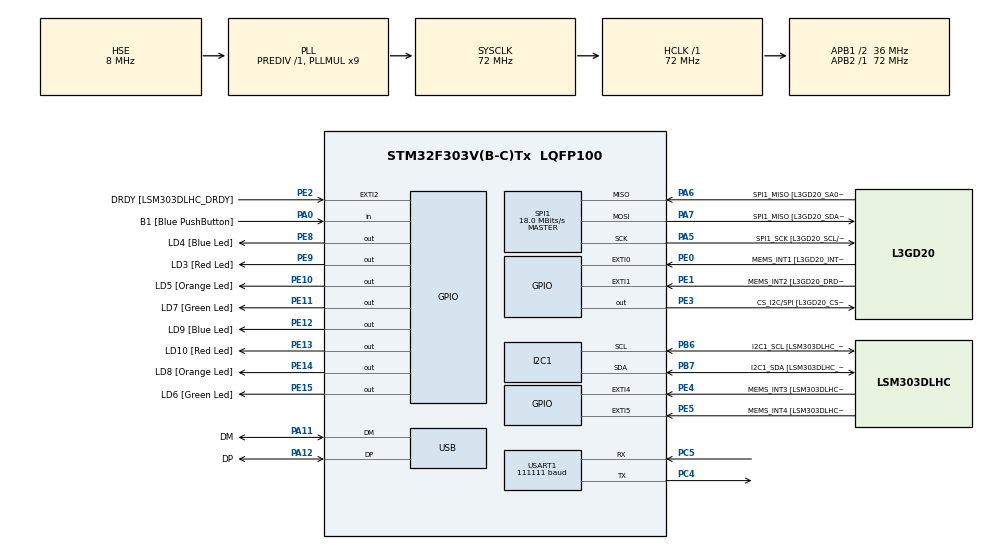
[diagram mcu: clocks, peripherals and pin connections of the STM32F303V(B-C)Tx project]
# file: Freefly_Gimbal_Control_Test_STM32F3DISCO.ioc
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I2C1.Timing-I2C=0x2000090E
Mcu.Family=STM32F3
Mcu.Name=STM32F303V(B-C)Tx
Mcu.Package=LQFP100
NVIC.PriorityGroup=NVIC_PRIORITYGROUP_0
NVIC.USART1_IRQn=true\:0\:0\:false\:false\:true\:true\:true
PA0.GPIO_Label=B1 [Blue PushButton]
PA0.Signal=GPIO_Input
PA11.GPIO_Label=DM
PA11.Mode=Device
PA11.Signal=USB_DM
PA12.GPIO_Label=DP
PA12.Mode=Device
PA12.Signal=USB_DP
PA13.GPIO_Label=SWDIO
PA13.Mode=Serial_Wire
PA13.Signal=SYS_JTMS-SWDIO
PA14.GPIO_Label=SWCLK
PA14.Mode=Serial_Wire
PA14.Signal=SYS_JTCK-SWCLK
PA5.GPIO_Label=SPI1_SCK [L3GD20_SCL/SPC]
PA5.Mode=Full_Duplex_Master
PA5.Signal=SPI1_SCK
PA6.GPIO_Label=SPI1_MISO [L3GD20_SA0/SDO]
PA6.Mode=Full_Duplex_Master
PA6.Signal=SPI1_MISO
PA7.GPIO_Label=SPI1_MISO [L3GD20_SDA/SDI/SDO]
PA7.Mode=Full_Duplex_Master
PA7.Signal=SPI1_MOSI
PB3.GPIO_Label=SWO
PB3.Signal=SYS_JTDO-TRACESWO
PB6.GPIO_Label=I2C1_SCL [LSM303DLHC_SCL]
PB6.Mode=I2C
PB6.Signal=I2C1_SCL
PB7.GPIO_Label=I2C1_SDA [LSM303DLHC_SDA]
PB7.Mode=I2C
PB7.Signal=I2C1_SDA
PC14-OSC32_IN.GPIO_Label=OSC32_IN
PC14-OSC32_IN.Signal=RCC_OSC32_IN
PC15-OSC32_OUT.GPIO_Label=OSC32_OUT
PC15-OSC32_OUT.Signal=RCC_OSC32_OUT
PC4.Mode=Asynchronous
PC4.Signal=USART1_TX
PC5.Mode=Asynchronous
PC5.Signal=USART1_RX
PE0.GPIO_Label=MEMS_INT1 [L3GD20_INT1]
PE0.GPIO_ModeDefaultEXTI=GPIO_MODE_EVT_RISING
PE0.Signal=GPXTI0
PE1.GPIO_Label=MEMS_INT2 [L3GD20_DRDY/INT2]
PE1.GPIO_ModeDefaultEXTI=GPIO_MODE_EVT_RISING
PE1.Signal=GPXTI1
PE10.GPIO_Label=LD5 [Orange Led]
PE10.Signal=GPIO_Output
PE11.GPIO_Label=LD7 [Green Led]
PE11.Signal=GPIO_Output
PE12.GPIO_Label=LD9 [Blue Led]
PE12.Signal=GPIO_Output
PE13.GPIO_Label=LD10 [Red Led]
PE13.Signal=GPIO_Output
PE14.GPIO_Label=LD8 [Orange Led]
PE14.Signal=GPIO_Output
PE15.GPIO_Label=LD6 [Green Led]
PE15.Signal=GPIO_Output
PE2.GPIO_Label=DRDY [LSM303DLHC_DRDY]
PE2.GPIO_ModeDefaultEXTI=GPIO_MODE_EVT_RISING
PE2.Signal=GPXTI2
PE3.GPIO_Label=CS_I2C/SPI [L3GD20_CS_I2C/SPI]
PE3.Signal=GPIO_Output
PE4.GPIO_Label=MEMS_INT3 [LSM303DLHC_INT1]
PE4.GPIO_ModeDefaultEXTI=GPIO_MODE_EVT_RISING
PE4.Signal=GPXTI4
PE5.GPIO_Label=MEMS_INT4 [LSM303DLHC_INT2]
PE5.GPIO_ModeDefaultEXTI=GPIO_MODE_EVT_RISING
PE5.Signal=GPXTI5
PE8.GPIO_Label=LD4 [Blue Led]
PE8.Signal=GPIO_Output
PE9.GPIO_Label=LD3 [Red Led]
PE9.Signal=GPIO_Output
PF0-OSC_IN.GPIO_Label=OSC_IN
PF0-OSC_IN.Mode=HSE-External-Clock-Source
PF0-OSC_IN.Signal=RCC_OSC_IN
PF1-OSC_OUT.GPIO_Label=OSC_OUT
PF1-OSC_OUT.Signal=RCC_OSC_OUT
ProjectManager.HeapSize=0x200
ProjectManager.StackSize=0x400
ProjectManager.TargetToolchain=MDK-ARM V5
RCC.AHBFreq_Value=72000000
RCC.APB1CLKDivider=RCC_HCLK_DIV2
RCC.APB1Freq_Value=36000000
RCC.APB1TimFreq_Value=72000000
RCC.APB2Freq_Value=72000000
RCC.APB2TimFreq_Value=72000000
RCC.CortexFreq_Value=72000000
RCC.HCLKFreq_Value=72000000
RCC.HSI_VALUE=8000000
RCC.LSE_VALUE=32768
RCC.PLLMUL=RCC_PLL_MUL9
RCC.PRESCALERUSB=RCC_USBCLKSOURCE_PLL_DIV1_5
RCC.SYSCLKFreq_VALUE=72000000
RCC.SYSCLKSourceVirtual=RCC_SYSCLKSOURCE_PLLCLK
RCC.USBFreq_Value=48000000
SPI1.BaudRatePrescaler=SPI_BAUDRATEPRESCALER_4
SPI1.BaudRatePrescaler-Full_Duplex_Master=SPI_BAUDRATEPRESCALER_2
SPI1.CalculateBaudRate=18.0 MBits/s
SPI1.CalculateBaudRate-Full_Duplex_Master=24.0 MBits/s
SPI1.Direction=SPI_DIRECTION_2LINES
SPI1.Mode=SPI_MODE_MASTER
SPI1.Mode-Full_Duplex_Master=SPI_MODE_MASTER
SPI1.VirtualType=VM_MASTER
USART1.BaudRate=111111
USART1.VirtualMode-Asynchronous=VM_ASYNC
board=STM32F3DISCOVERY

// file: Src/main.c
/* USER CODE BEGIN Header */
/**
  This is a test application designed by Freefly Systems.
	It was auto generated using the CubeMX software provided by ST for the STM32F3-Discovery development board.
	It is setup to read the Accelerometer and Gyro sensor values, and setup a UART for communication with non blocking buffers
  */
/* USER CODE END Header */

#include "main.h"
#include "math.h"
/* USER CODE BEGIN Includes */
#include "string.h"
#include "FIFO_Buf.h"
#include "stm32f3_discovery.h"
#include "stm32f3_discovery_accelerometer.h"
#include "stm32f3_discovery_gyroscope.h"

#include "QX_Protocol.h"
#include "QX_Protocol_App.h"

/* USER CODE END Includes */

/* USER CODE BEGIN PD */
void UART_Print(const char*);
/* USER CODE END PD */

I2C_HandleTypeDef hi2c1;

SPI_HandleTypeDef hspi1;

UART_HandleTypeDef huart1;

PCD_HandleTypeDef hpcd_USB_FS;

void SystemClock_Config(void);
static void MX_GPIO_Init(void);
static void MX_I2C1_Init(void);
static void MX_SPI1_Init(void);
static void MX_USB_PCD_Init(void);
static void MX_USART1_UART_Init(void);
/* USER CODE BEGIN PFP */

void Start_Buf_Send(void);

/* USER CODE END PFP */

/* USER CODE BEGIN 0 */

// Globals for reading IMU sensor values
float gyro_values[3];
int16_t accel_values[3];

// globals for communications
uint8_t uart_tx_chr;
uint8_t uart_rx_chr;
FIFO_Buf_t qx_comms_rx_fifo[1];
FIFO_Buf_t qx_comms_tx_fifo[1];
uint8_t qx_comms_rx_buf[1][1000];
uint8_t qx_comms_tx_buf[1][1000];

// globals for angle estimation
float tilt_angle_deg=0.0f;
float roll_angle_deg=0.0f;

// frequency of control loop
float control_freq = 50;

/* USER CODE END 0 */

int main(void)
{

  /* MCU Configuration--------------------------------------------------------*/

  /* Reset of all peripherals, Initializes the Flash interface and the Systick. */
  HAL_Init();

  /* Configure the system clock */
  SystemClock_Config();

  /* Initialize all configured peripherals */
  MX_GPIO_Init();
  MX_I2C1_Init();
  MX_SPI1_Init();
  MX_USB_PCD_Init();
  MX_USART1_UART_Init();
  /* USER CODE BEGIN 2 */

	// Init the Gyro
	BSP_GYRO_Init();
	BSP_GYRO_ReadID();

	// Init the Accel
	BSP_ACCELERO_Init();

	// Setup buffers for serial comms
	FIFO_Buf_Init(&qx_comms_rx_fifo[0], qx_comms_rx_buf[0], 1000);
	FIFO_Buf_Init(&qx_comms_tx_fifo[0], qx_comms_tx_buf[0], 1000);

	// Start receiving characters to a circular buffer
	// Once 1 char is received this RX function will be called again, and the cycle repeats
	HAL_UART_Receive_IT(&huart1, &uart_rx_chr, 1);

	FreeflyAPI.begin();

	// Set Tilt and Roll control type as absolute angles
	FreeflyAPI.control.tilt.type = ABSOLUTE;
	FreeflyAPI.control.roll.type = ABSOLUTE;
	FreeflyAPI.control.pan.type =DEFER;

  /* USER CODE END 2 */

  /* Infinite loop */
  /* USER CODE BEGIN WHILE */

  while (1)
  {

	HAL_GPIO_TogglePin(LD3_GPIO_Port, LD3_Pin);

	// Read the sensor values. Use the watch window to display them and make sure they are working
	BSP_GYRO_GetXYZ(gyro_values);
	BSP_ACCELERO_GetXYZ(accel_values);

	// Compute Tilt and Roll from accelrometer
	get_tilt_angle(accel_values, &tilt_angle_deg);
	get_roll_angle(accel_values, &roll_angle_deg);

	// Clamp the Tilt and Roll angles w.r.t the physical limitations of the device
	tilt_angle_deg = (tilt_angle_deg > 55.0) ? 55.0 : (tilt_angle_deg < -55.0) ? -55.0 : tilt_angle_deg;
	roll_angle_deg = (roll_angle_deg > 110.0) ? 110.0 : (roll_angle_deg < -90.0) ? -90.0 : roll_angle_deg;

	// Send desired angle values to Movi using the Freefly API
	// Angle value is normalised w.r.t 180 degrees
  FreeflyAPI.control.tilt.value = tilt_angle_deg / 180.0f;
  FreeflyAPI.control.roll.value = roll_angle_deg / 180.0f;
  FreeflyAPI.send();

	// Blocking delay to maintain coltrol-loop frequency
	HAL_Delay((1/control_freq)*1000);

    /* USER CODE END WHILE */

  }
}

void SystemClock_Config(void)
{
  RCC_OscInitTypeDef RCC_OscInitStruct = {0};
  RCC_ClkInitTypeDef RCC_ClkInitStruct = {0};
  RCC_PeriphCLKInitTypeDef PeriphClkInit = {0};

  /** Initializes the CPU, AHB and APB busses clocks
  */
  RCC_OscInitStruct.OscillatorType = RCC_OSCILLATORTYPE_HSI|RCC_OSCILLATORTYPE_HSE;
  RCC_OscInitStruct.HSEState = RCC_HSE_BYPASS;
  RCC_OscInitStruct.HSEPredivValue = RCC_HSE_PREDIV_DIV1;
  RCC_OscInitStruct.HSIState = RCC_HSI_ON;
  RCC_OscInitStruct.HSICalibrationValue = RCC_HSICALIBRATION_DEFAULT;
  RCC_OscInitStruct.PLL.PLLState = RCC_PLL_ON;
  RCC_OscInitStruct.PLL.PLLSource = RCC_PLLSOURCE_HSE;
  RCC_OscInitStruct.PLL.PLLMUL = RCC_PLL_MUL9;
  if (HAL_RCC_OscConfig(&RCC_OscInitStruct) != HAL_OK)
  {
    Error_Handler();
  }
  /** Initializes the CPU, AHB and APB busses clocks
  */
  RCC_ClkInitStruct.ClockType = RCC_CLOCKTYPE_HCLK|RCC_CLOCKTYPE_SYSCLK
                              |RCC_CLOCKTYPE_PCLK1|RCC_CLOCKTYPE_PCLK2;
  RCC_ClkInitStruct.SYSCLKSource = RCC_SYSCLKSOURCE_PLLCLK;
  RCC_ClkInitStruct.AHBCLKDivider = RCC_SYSCLK_DIV1;
  RCC_ClkInitStruct.APB1CLKDivider = RCC_HCLK_DIV2;
  RCC_ClkInitStruct.APB2CLKDivider = RCC_HCLK_DIV1;

  if (HAL_RCC_ClockConfig(&RCC_ClkInitStruct, FLASH_LATENCY_2) != HAL_OK)
  {
    Error_Handler();
  }
  PeriphClkInit.PeriphClockSelection = RCC_PERIPHCLK_USB|RCC_PERIPHCLK_USART1
                              |RCC_PERIPHCLK_I2C1;
  PeriphClkInit.Usart1ClockSelection = RCC_USART1CLKSOURCE_PCLK2;
  PeriphClkInit.I2c1ClockSelection = RCC_I2C1CLKSOURCE_HSI;
  PeriphClkInit.USBClockSelection = RCC_USBCLKSOURCE_PLL_DIV1_5;
  if (HAL_RCCEx_PeriphCLKConfig(&PeriphClkInit) != HAL_OK)
  {
    Error_Handler();
  }
}

static void MX_I2C1_Init(void)
{

  hi2c1.Instance = I2C1;
  hi2c1.Init.Timing = 0x2000090E;
  hi2c1.Init.OwnAddress1 = 0;
  hi2c1.Init.AddressingMode = I2C_ADDRESSINGMODE_7BIT;
  hi2c1.Init.DualAddressMode = I2C_DUALADDRESS_DISABLE;
  hi2c1.Init.OwnAddress2 = 0;
  hi2c1.Init.OwnAddress2Masks = I2C_OA2_NOMASK;
  hi2c1.Init.GeneralCallMode = I2C_GENERALCALL_DISABLE;
  hi2c1.Init.NoStretchMode = I2C_NOSTRETCH_DISABLE;
  if (HAL_I2C_Init(&hi2c1) != HAL_OK)
  {
    Error_Handler();
  }
  /** Configure Analogue filter
  */
  if (HAL_I2CEx_ConfigAnalogFilter(&hi2c1, I2C_ANALOGFILTER_ENABLE) != HAL_OK)
  {
    Error_Handler();
  }
  /** Configure Digital filter
  */
  if (HAL_I2CEx_ConfigDigitalFilter(&hi2c1, 0) != HAL_OK)
  {
    Error_Handler();
  }

}

static void MX_SPI1_Init(void)
{

  /* SPI1 parameter configuration*/
  hspi1.Instance = SPI1;
  hspi1.Init.Mode = SPI_MODE_MASTER;
  hspi1.Init.Direction = SPI_DIRECTION_2LINES;
  hspi1.Init.DataSize = SPI_DATASIZE_4BIT;
  hspi1.Init.CLKPolarity = SPI_POLARITY_LOW;
  hspi1.Init.CLKPhase = SPI_PHASE_1EDGE;
  hspi1.Init.NSS = SPI_NSS_SOFT;
  hspi1.Init.BaudRatePrescaler = SPI_BAUDRATEPRESCALER_4;
  hspi1.Init.FirstBit = SPI_FIRSTBIT_MSB;
  hspi1.Init.TIMode = SPI_TIMODE_DISABLE;
  hspi1.Init.CRCCalculation = SPI_CRCCALCULATION_DISABLE;
  hspi1.Init.CRCPolynomial = 7;
  hspi1.Init.CRCLength = SPI_CRC_LENGTH_DATASIZE;
  hspi1.Init.NSSPMode = SPI_NSS_PULSE_ENABLE;
  if (HAL_SPI_Init(&hspi1) != HAL_OK)
  {
    Error_Handler();
  }

}

static void MX_USART1_UART_Init(void)
{

  huart1.Instance = USART1;
  huart1.Init.BaudRate = 111111;
  huart1.Init.WordLength = UART_WORDLENGTH_8B;
  huart1.Init.StopBits = UART_STOPBITS_1;
  huart1.Init.Parity = UART_PARITY_NONE;
  huart1.Init.Mode = UART_MODE_TX_RX;
  huart1.Init.HwFlowCtl = UART_HWCONTROL_NONE;
  huart1.Init.OverSampling = UART_OVERSAMPLING_16;
  huart1.Init.OneBitSampling = UART_ONE_BIT_SAMPLE_DISABLE;
  huart1.AdvancedInit.AdvFeatureInit = UART_ADVFEATURE_NO_INIT;
  if (HAL_UART_Init(&huart1) != HAL_OK)
  {
    Error_Handler();
  }

}

static void MX_USB_PCD_Init(void)
{

  hpcd_USB_FS.Instance = USB;
  hpcd_USB_FS.Init.dev_endpoints = 8;
  hpcd_USB_FS.Init.speed = PCD_SPEED_FULL;
  hpcd_USB_FS.Init.phy_itface = PCD_PHY_EMBEDDED;
  hpcd_USB_FS.Init.low_power_enable = DISABLE;
  hpcd_USB_FS.Init.battery_charging_enable = DISABLE;
  if (HAL_PCD_Init(&hpcd_USB_FS) != HAL_OK)
  {
    Error_Handler();
  }

}

static void MX_GPIO_Init(void)
{
  GPIO_InitTypeDef GPIO_InitStruct = {0};

  /* GPIO Ports Clock Enable */
  __HAL_RCC_GPIOE_CLK_ENABLE();
  __HAL_RCC_GPIOC_CLK_ENABLE();
  __HAL_RCC_GPIOF_CLK_ENABLE();
  __HAL_RCC_GPIOA_CLK_ENABLE();
  __HAL_RCC_GPIOB_CLK_ENABLE();

  /*Configure GPIO pin Output Level */
  HAL_GPIO_WritePin(GPIOE, CS_I2C_SPI_Pin|LD4_Pin|LD3_Pin|LD5_Pin
                          |LD7_Pin|LD9_Pin|LD10_Pin|LD8_Pin
                          |LD6_Pin, GPIO_PIN_RESET);

  /*Configure GPIO pins : DRDY_Pin MEMS_INT3_Pin MEMS_INT4_Pin MEMS_INT1_Pin
                           MEMS_INT2_Pin */
  GPIO_InitStruct.Pin = DRDY_Pin|MEMS_INT3_Pin|MEMS_INT4_Pin|MEMS_INT1_Pin
                          |MEMS_INT2_Pin;
  GPIO_InitStruct.Mode = GPIO_MODE_EVT_RISING;
  GPIO_InitStruct.Pull = GPIO_NOPULL;
  HAL_GPIO_Init(GPIOE, &GPIO_InitStruct);

  /*Configure GPIO pins : CS_I2C_SPI_Pin LD4_Pin LD3_Pin LD5_Pin
                           LD7_Pin LD9_Pin LD10_Pin LD8_Pin
                           LD6_Pin */
  GPIO_InitStruct.Pin = CS_I2C_SPI_Pin|LD4_Pin|LD3_Pin|LD5_Pin
                          |LD7_Pin|LD9_Pin|LD10_Pin|LD8_Pin
                          |LD6_Pin;
  GPIO_InitStruct.Mode = GPIO_MODE_OUTPUT_PP;
  GPIO_InitStruct.Pull = GPIO_NOPULL;
  GPIO_InitStruct.Speed = GPIO_SPEED_FREQ_LOW;
  HAL_GPIO_Init(GPIOE, &GPIO_InitStruct);

  /*Configure GPIO pin : B1_Pin */
  GPIO_InitStruct.Pin = B1_Pin;
  GPIO_InitStruct.Mode = GPIO_MODE_INPUT;
  GPIO_InitStruct.Pull = GPIO_NOPULL;
  HAL_GPIO_Init(B1_GPIO_Port, &GPIO_InitStruct);

}

/* USER CODE BEGIN 4 */

// Compute Tilt angle from accelerometer values
void get_tilt_angle(const int16_t *accel_values, float *tilt_angle_deg)
{
    float ax = (float)accel_values[0];
    float ay = (float)accel_values[1];
    float az = (float)accel_values[2];

    // Compute Tilt angle
    float tilt_rad = atan2(ay, sqrt(ax * ax + az * az));
    float tilt_deg = tilt_rad * (180.0f / 3.14f);

		// filter the tilt angle to remove high frequency noise
		*tilt_angle_deg =lowpass_filter(tilt_deg , *tilt_angle_deg, 0.5);

}

// Compute Roll angle from accelerometer values
void get_roll_angle(const int16_t *accel_values, float *roll_angle_deg)
{
    float ax = (float)accel_values[0];
    float ay = (float)accel_values[1];
    float az = (float)accel_values[2];

    // Compute Roll angle
    float roll_rad = atan2(ax, sqrt(ay * ay + az * az));
    float roll_deg = roll_rad * (180.0f / 3.14f);

		// filter the roll angle to remove high frequency noise
		*roll_angle_deg =lowpass_filter(roll_deg , *roll_angle_deg, 0.7);

}

// Lowpass filter to smoothen signal values
float lowpass_filter(float input, float prev_output, float f_cut)
{
		// Sampling interval
	  float dT = 1/control_freq;
    float Tau = 1/(2*f_cut*3.14);

		// filter coefficient
    float alpha = Tau/(Tau+dT);

    return alpha * prev_output + (1.0f - alpha) * input;
}

//----------------------------------------------------------------------------
// Start sending the contents of the buffer if there are some.
// Only the first char is sent here, the rest are finished via interrupts
void Start_Buf_Send(void)
{
	if (FIFO_Buf_Remove(&qx_comms_tx_fifo[0], &uart_tx_chr))
	{
		HAL_UART_Transmit_IT(&huart1, &uart_tx_chr, 1);
	}
}

//----------------------------------------------------------------------------
// Callback for the UART Tx Interrupt - check to see if there are more chars to tx, and start Tx.
void HAL_UART_TxCpltCallback(UART_HandleTypeDef *huart)
{
	if(huart->Instance == USART1)
    {
		if (FIFO_Buf_Remove(&qx_comms_tx_fifo[0], &uart_tx_chr))
		{
			HAL_UART_Transmit_IT(huart, &uart_tx_chr, 1);
		}
    }
}

//----------------------------------------------------------------------------
// Callback for the UART Rx Interrupt
void HAL_UART_RxCpltCallback(UART_HandleTypeDef *huart)
{
	if(huart->Instance == USART1)
    {
		FIFO_Buf_Add(&qx_comms_rx_fifo[0], uart_rx_chr);

		// get another char
		HAL_UART_Receive_IT(huart, &uart_rx_chr, 1);
    }
}

/* USER CODE END 4 */

void Error_Handler(void)
{
}

/************************ (C) COPYRIGHT STMicroelectronics *****END OF FILE****/
